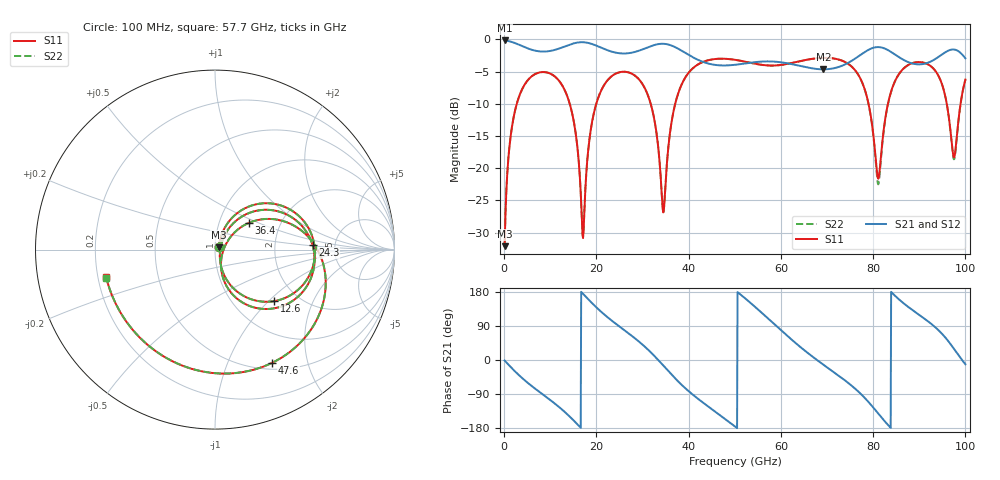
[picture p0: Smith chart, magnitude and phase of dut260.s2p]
! Touchstone file exported from HFSS 2026.1.0
!  File:  C:/ffzhzh/LocalFiles/Ansys_Project_Files/temp_train_TSV_RDL_260_1783673374_33328.aedt
!  Generated:  04:57:29 PM Jul 10, 2026
!  Design:  TSV_RDL
!  Project:  temp_train_TSV_RDL_260_1783673374_33328
! Variables:
!  h_bsmrdl = 3.82um
!  h_ox = 20um
!  h_rdl = 5um
!  h_sub = 59.84um
!  h_tmrdl = 3.59um
!  h_tsv = 59.84um
!  h_via = 3um
!  l_bsmrdl = 502.12um
!  l_sub = 3750.12um
!  l_tmrdl = 432.56um
!  m_sub = 200um
!  pitch = 46.29um
!  r_tsv = 8.32um
!  s_tmrdl = 10um
!  w_bsmrdl = 10.72um
!  w_sub = 500um
!  w_tmrdl = 27.12um
!  x_tsv_center1 = 446.12um
!  x_tsv_center2 = 958.96um
!  x_tsv_center3 = 1418.64um
!  x_tsv_center4 = 1931.48um
!  x_tsv_center5 = 2391.16um
!  x_tsv_center6 = 2904um
# GHz S MA R 50.000000
! Terminal data exported
! Port[1] = TM_RDL1_1_T1
! Port[2] = TM_RDL5_1_T1
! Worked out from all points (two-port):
!   1000 points, 100 MHz to 100 GHz, reference 50 ohm
!   highest |S21| = -0.18 dB at 100 MHz (marker M1); lowest = -4.7 dB at 69.2 GHz (marker M2)
!   |S21| within 3 dB of the highest: start of sweep to 42.01 GHz; 75.69 GHz to 86.56 GHz (10.87 GHz wide, 13.4 % of centre) (the widest 2 of 3)
!   lowest |S11| = -32.1 dB at 100 MHz (marker M3), VSWR 1.05, Z = 52.1 + j1.39 ohm
!   |S11| at or under -10 dB: 14.22 GHz to 19.98 GHz (5.759 GHz wide, 33.7 % of centre); 31.77 GHz to 37.09 GHz (5.319 GHz wide, 15.4 % of centre); 79 GHz to 83.21 GHz (4.215 GHz wide, 5.2 % of centre) (the widest 3 of 5)
!   |S22| runs from -32.1 to -2.9 dB; largest |S21 - S12| = 2.9e-13
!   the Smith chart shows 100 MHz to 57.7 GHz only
!   S11 on the Smith chart (normalised r, x): 100 MHz: 1.04, +0.03; 12.6 GHz: 1.53, -1.08; 24.3 GHz: 3.36, +0.25; 36.4 GHz: 1.38, +0.44; 47.6 GHz: 0.58, -1.46; 57.7 GHz: 0.23, -0.12
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0.1  0.02488 32.5  0.9793 -1.4  0.9793 -1.4  0.02488 32.5
! Gamma 0 0 0 0
! Port Impedance 50 0 50 0
1.4  0.1763 63.6  0.9595 -18.3  0.9595 -18.3  0.1763 63.6
3.6  0.3883 41.7  0.8948 -44.4  0.8948 -44.4  0.3883 41.7
12.6  0.4383 -40.9  0.865 -131.3  0.865 -131.3  0.4384 -40.9
16.8  0.04471 -53.4  0.9494 178.6  0.9494 178.6  0.04497 -53.2
19.7  0.2912 45.8  0.9014 142.3  0.9014 142.3  0.2911 45.8
24.3  0.5439 2.8  0.7863 94.8  0.7863 94.8  0.5438 2.8
33.4  0.146 -74.1  0.9172 0.0  0.9172 0.0  0.146 -74.2
34.6  0.04676 -3.7  0.9226 -16.0  0.9226 -16.0  0.04656 -3.7
36.4  0.2403 38.3  0.8909 -40.0  0.8909 -40.0  0.2402 38.3
41.8  0.6309 -13.1  0.6989 -100.2  0.6989 -100.2  0.6308 -13.0
47.6  0.7067 -63.2  0.6265 -152.7  0.6265 -152.7  0.7066 -62.9
50.1  0.6928 -85.9  0.6345 -176.0  0.6345 -176.0  0.6926 -85.6
57.7  0.6257 -165.7  0.6735 104.1  0.6735 104.1  0.6254 -165.3
66.7  0.7045 99.6  0.5955 10.3  0.5955 10.3  0.7042 99.6
69.2  0.7178 77.5  0.5848 -12.3  0.5848 -12.3  0.7176 77.4
78.4  0.3851 -3.0  0.8053 -102.9  0.8053 -102.9  0.3841 -4.2
81.1  0.08299 38.2  0.8702 -141.1  0.8702 -141.1  0.07501 37.8
83.4  0.3386 83.2  0.8171 -173.8  0.8171 -173.8  0.3366 84.3
94.5  0.491 -7.5  0.744 74.6  0.744 74.6  0.4905 -7.7
97.5  0.1215 23.8  0.8334 29.9  0.8334 29.9  0.1173 23.6
100  0.487 64.1  0.7118 -11.2  0.7118 -11.2  0.4858 64.6
